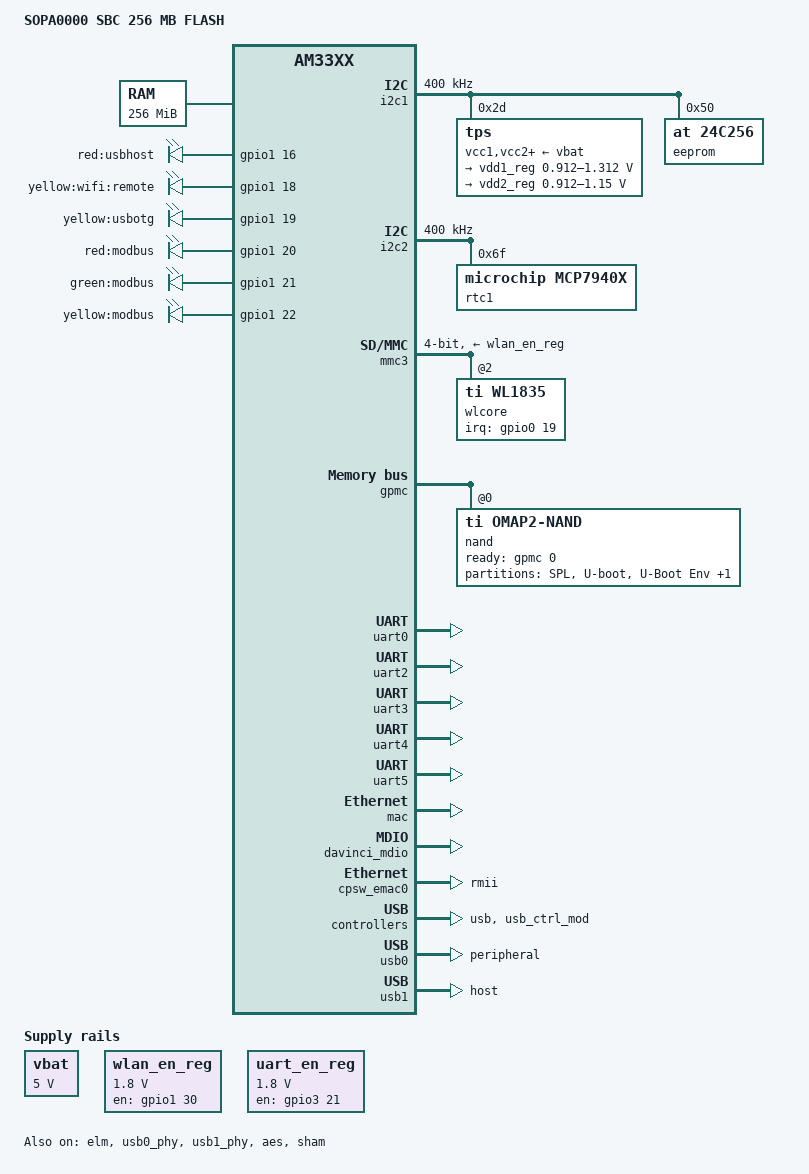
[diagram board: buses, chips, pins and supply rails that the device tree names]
/*
 * am335x-sopa0000-256.dts - Device Tree file for SOPA0000 256MB NAND FLASH
 *
 * Copyright (C) 2017 ISEE 2007 SL - http://www.isee.biz
 *
 * This program is free software; you can redistribute it and/or modify
 * it under the terms of the GNU General Public License version 2 as
 * published by the Free Software Foundation.
 */

/dts-v1/;

#include "am33xx.dtsi"
#include <dt-bindings/interrupt-controller/irq.h>

/ {
	model = "SOPA0000 SBC 256 MB FLASH";
	compatible = "sopa,sopa0000", "ti,am33xx";

	cpus {
		cpu@0 {
			cpu0-supply = <&vdd1_reg>;
		};
	};

	memory {
		device_type = "memory";
		reg = <0x80000000 0x10000000>; /* 256 MB */
	};

	leds {
		pinctrl-names = "default";
		pinctrl-0 = <&leds_pins_default>;
		compatible = "gpio-leds";

		led@0 {
			label = "red:usbhost";
			gpios = <&gpio1 16 GPIO_ACTIVE_HIGH>;
			default-state = "off";
		};

		led@1 {
			label = "yellow:wifi:remote";
			gpios = <&gpio1 18 GPIO_ACTIVE_HIGH>;
			default-state = "off";
		};

		led@2 {
			label = "yellow:usbotg";
			gpios = <&gpio1 19 GPIO_ACTIVE_HIGH>;
			default-state = "off";
		};

		led@3 {
			label = "red:modbus";
			gpios = <&gpio1 20 GPIO_ACTIVE_HIGH>;
			default-state = "off";
		};

		led@4 {
			label = "green:modbus";
			gpios = <&gpio1 21 GPIO_ACTIVE_HIGH>;
			default-state = "off";
		};

		led@5 {
			label = "yellow:modbus";
			gpios = <&gpio1 22 GPIO_ACTIVE_HIGH>;
			default-state = "off";
		};
	};

	vbat: fixedregulator@0 {
		compatible = "regulator-fixed";
		regulator-name = "vbat";
		regulator-min-microvolt = <5000000>;
		regulator-max-microvolt = <5000000>;
		regulator-boot-on;
	};

	wlan_en_reg: fixedregulator@1 {
		compatible = "regulator-fixed";
		regulator-name = "wlan-en-regulator";
		regulator-min-microvolt = <1800000>;
		regulator-max-microvolt = <1800000>;

		/* WL_EN */
		gpio = <&gpio1 30 0>;

		/* WLAN card specific delay */
		startup-delay-us = <70000>;
		enable-active-high;
	};
	
	uart_en_reg: fixedregulator@2 {
		compatible = "regulator-fixed";
		regulator-name = "uart-en-regulator";
		regulator-min-microvolt = <1800000>;
		regulator-max-microvolt = <1800000>;
		regulator-always-on;

		/* UART_EN */
		gpio = <&gpio3 21 0>;
		startup-delay-us = <70000>;  
		enable-active-high;
	};
};

&am33xx_pinmux {
	leds_pins_default: pinmux_leds_pins_default {
		pinctrl-single,pins = <
			AM33XX_IOPAD(0x840, PIN_OUTPUT_PULLDOWN | MUX_MODE7)	/* gpmc_a0.gpio1_16 */
			AM33XX_IOPAD(0x848, PIN_OUTPUT_PULLDOWN | MUX_MODE7)	/* gpmc_a2.gpio1_18 */
			AM33XX_IOPAD(0x84C, PIN_OUTPUT_PULLDOWN | MUX_MODE7)	/* gpmc_a3.gpio1_19 */
			AM33XX_IOPAD(0x850, PIN_OUTPUT_PULLDOWN | MUX_MODE7)	/* gpmc_a4.gpio1_20 */
			AM33XX_IOPAD(0x854, PIN_OUTPUT_PULLDOWN | MUX_MODE7)	/* gpmc_a5.gpio1_21 */
			AM33XX_IOPAD(0x858, PIN_OUTPUT_PULLDOWN | MUX_MODE7)	/* gpmc_a6.gpio1_22 */
		>;
	};

	enable_uart_pins: pinmux_enable_uart_pins {
		pinctrl-single,pins = <
			AM33XX_IOPAD(0x9ac, PIN_OUTPUT_PULLUP | MUX_MODE7)	/* mcasp0_ahclkx.gpio3_21 */
		>;
	};

	i2c1_pins: pinmux_i2c1_pins {
		pinctrl-single,pins = <
			AM33XX_IOPAD(0x980, PIN_INPUT_PULLUP | MUX_MODE3)	/* uart1_rxd.I2C1_SDA */
			AM33XX_IOPAD(0x984, PIN_INPUT_PULLUP | MUX_MODE3)	/* uart1_txd.I2C1_SCL */
		>;
	};

	i2c2_pins: pinmux_i2c2_pins {
		pinctrl-single,pins = <
			AM33XX_IOPAD(0x978, PIN_INPUT_PULLUP | MUX_MODE3)	/* uart1_ctsn.I2C2_SDA */
			AM33XX_IOPAD(0x97C, PIN_INPUT_PULLUP | MUX_MODE3)	/* uart1_rtsn.I2C2_SCL */
		>;
	};

	mmc3_pins_default: pinmux_mmc3_pins_default {
		pinctrl-single,pins = <
			AM33XX_IOPAD(0x83C, PIN_INPUT_PULLUP | MUX_MODE3)	/* gpmc_ad15.mmc2_dat3 */
			AM33XX_IOPAD(0x838, PIN_INPUT_PULLUP | MUX_MODE3)	/* gpmc_ad14.mmc2_dat2 */
			AM33XX_IOPAD(0x834, PIN_INPUT_PULLUP | MUX_MODE3)	/* gpmc_ad13.mmc2_dat1 */
			AM33XX_IOPAD(0x830, PIN_INPUT_PULLUP | MUX_MODE3)	/* gpmc_ad12.mmc2_dat0 */
			AM33XX_IOPAD(0x88C, PIN_INPUT_PULLUP | MUX_MODE3)	/* gpmc_clk.mmc2_clk */
			AM33XX_IOPAD(0x888, PIN_INPUT_PULLUP | MUX_MODE3)	/* gpmc_csn3.mmc2_cmd */
		>;
	};

	mmc3_pins_sleep: pinmux_mmc3_pins_sleep {
		pinctrl-single,pins = <
			AM33XX_IOPAD(0x83C, PIN_INPUT_PULLUP | MUX_MODE7)
			AM33XX_IOPAD(0x838, PIN_INPUT_PULLUP | MUX_MODE7)
			AM33XX_IOPAD(0x834, PIN_INPUT_PULLUP | MUX_MODE7)
			AM33XX_IOPAD(0x830, PIN_INPUT_PULLUP | MUX_MODE7)
			AM33XX_IOPAD(0x88C, PIN_INPUT_PULLUP | MUX_MODE7)
			AM33XX_IOPAD(0x888, PIN_INPUT_PULLUP | MUX_MODE7)
		>;
	};

	wlan_pins: pinmux_wlan_pins {
		pinctrl-single,pins = <
			AM33XX_IOPAD(0x880, PIN_OUTPUT_PULLDOWN | MUX_MODE7)	/* gpio1_30 WL_EN */
			AM33XX_IOPAD(0x9B0, PIN_INPUT_PULLUP | MUX_MODE7)		/* gpio0_19 WL_IRQ */
			AM33XX_IOPAD(0x878, PIN_OUTPUT_PULLDOWN | MUX_MODE7)	/* gpio1_28 BT_EN */
		>;
	};

	nandflash_pins_default: pinmux_nandflash_pins_default {
		pinctrl-single,pins = <
			AM33XX_IOPAD(0x800, PIN_INPUT_PULLUP | MUX_MODE0)	/* gpmc_ad0.gpmc_ad0 */
			AM33XX_IOPAD(0x804, PIN_INPUT_PULLUP | MUX_MODE0)	/* gpmc_ad1.gpmc_ad1 */
			AM33XX_IOPAD(0x808, PIN_INPUT_PULLUP | MUX_MODE0)	/* gpmc_ad2.gpmc_ad2 */
			AM33XX_IOPAD(0x80C, PIN_INPUT_PULLUP | MUX_MODE0)	/* gpmc_ad3.gpmc_ad3 */
			AM33XX_IOPAD(0x810, PIN_INPUT_PULLUP | MUX_MODE0)	/* gpmc_ad4.gpmc_ad4 */
			AM33XX_IOPAD(0x814, PIN_INPUT_PULLUP | MUX_MODE0)	/* gpmc_ad5.gpmc_ad5 */
			AM33XX_IOPAD(0x818, PIN_INPUT_PULLUP | MUX_MODE0)	/* gpmc_ad6.gpmc_ad6 */
			AM33XX_IOPAD(0x81C, PIN_INPUT_PULLUP | MUX_MODE0)	/* gpmc_ad7.gpmc_ad7 */
			AM33XX_IOPAD(0x870, PIN_INPUT_PULLUP | MUX_MODE0)	/* gpmc_wait0.gpmc_wait0 */
			AM33XX_IOPAD(0x874, PIN_INPUT_PULLUP | MUX_MODE7)	/* gpmc_wpn.gpio0_30 */
			AM33XX_IOPAD(0x87C, PIN_OUTPUT | MUX_MODE0)			/* gpmc_csn0.gpmc_csn0 */
			AM33XX_IOPAD(0x890, PIN_OUTPUT | MUX_MODE0)			/* gpmc_advn_ale.gpmc_advn_ale */
			AM33XX_IOPAD(0x894, PIN_OUTPUT | MUX_MODE0)			/* gpmc_oen_ren.gpmc_oen_ren */
			AM33XX_IOPAD(0x898, PIN_OUTPUT | MUX_MODE0)			/* gpmc_wen.gpmc_wen */
			AM33XX_IOPAD(0x89C, PIN_OUTPUT | MUX_MODE0)			/* gpmc_be0n_cle.gpmc_be0n_cle */
		>;
	};

	nandflash_pins_sleep: pinmux_nandflash_pins_sleep {
		pinctrl-single,pins = <
			AM33XX_IOPAD(0x800, PIN_INPUT_PULLDOWN | MUX_MODE7)
			AM33XX_IOPAD(0x804, PIN_INPUT_PULLDOWN | MUX_MODE7)
			AM33XX_IOPAD(0x808, PIN_INPUT_PULLDOWN | MUX_MODE7)
			AM33XX_IOPAD(0x80C, PIN_INPUT_PULLDOWN | MUX_MODE7)
			AM33XX_IOPAD(0x810, PIN_INPUT_PULLDOWN | MUX_MODE7)
			AM33XX_IOPAD(0x814, PIN_INPUT_PULLDOWN | MUX_MODE7)
			AM33XX_IOPAD(0x818, PIN_INPUT_PULLDOWN | MUX_MODE7)
			AM33XX_IOPAD(0x81C, PIN_INPUT_PULLDOWN | MUX_MODE7)
			AM33XX_IOPAD(0x870, PIN_INPUT_PULLDOWN | MUX_MODE7)
			AM33XX_IOPAD(0x874, PIN_INPUT_PULLDOWN | MUX_MODE7)
			AM33XX_IOPAD(0x87C, PIN_INPUT_PULLDOWN | MUX_MODE7)
			AM33XX_IOPAD(0x890, PIN_INPUT_PULLDOWN | MUX_MODE7)
			AM33XX_IOPAD(0x894, PIN_INPUT_PULLDOWN | MUX_MODE7)
			AM33XX_IOPAD(0x898, PIN_INPUT_PULLDOWN | MUX_MODE7)
			AM33XX_IOPAD(0x89C, PIN_INPUT_PULLDOWN | MUX_MODE7)
		>;
	};

	uart0_pins: pinmux_uart0_pins {
		pinctrl-single,pins = <
			AM33XX_IOPAD(0x970, PIN_INPUT_PULLUP | MUX_MODE0)		/* uart0_rxd.uart0_rxd */
			AM33XX_IOPAD(0x974, PIN_OUTPUT_PULLDOWN | MUX_MODE0)	/* uart0_txd.uart0_txd */
		>;
	};

	uart2_pins_default: pinmux_uart2_pins_default {
		pinctrl-single,pins = <
			AM33XX_IOPAD(0x988, PIN_INPUT | MUX_MODE2)				/* I2C0_SDA.uart2_ctsn */
			AM33XX_IOPAD(0x98C, PIN_OUTPUT_PULLDOWN | MUX_MODE2)	/* I2C0_SCL.uart2_rtsn */
			AM33XX_IOPAD(0x92C, PIN_INPUT_PULLUP | MUX_MODE1)		/* gmii1_txclk.uart2_rxd */
			AM33XX_IOPAD(0x930, PIN_OUTPUT | MUX_MODE1)				/* gmii1_rxclk.uart2_txd */
		>;
	};

	uart2_pins_sleep: pinmux_uart2_pins_sleep {
		pinctrl-single,pins = <
			AM33XX_IOPAD(0x988, PIN_INPUT_PULLDOWN | MUX_MODE7)
			AM33XX_IOPAD(0x98C, PIN_INPUT_PULLDOWN | MUX_MODE7)
			AM33XX_IOPAD(0x92C, PIN_INPUT_PULLDOWN | MUX_MODE7)
			AM33XX_IOPAD(0x930, PIN_INPUT_PULLDOWN | MUX_MODE7)
		>;
	};

	uart3_pins_default: pinmux_uart3_pins_default {
		pinctrl-single,pins = <
			AM33XX_IOPAD(0x934, PIN_INPUT_PULLUP | MUX_MODE1)	/* gmii1_rxd3.uart3_rxd */
			AM33XX_IOPAD(0x938, PIN_OUTPUT | MUX_MODE1)			/* gmii1_rxd2.uart3_txd */
			AM33XX_IOPAD(0x8c8, PIN_INPUT | MUX_MODE7)			/* lcd_data10.gpio2_16 */
			AM33XX_IOPAD(0x8cc, PIN_OUTPUT | MUX_MODE7)			/* lcd_data11.gpio2_17 */
		>;
	};

	uart4_pins_default: pinmux_uart4_pins_default {
		pinctrl-single,pins = <
			AM33XX_IOPAD(0x968, PIN_INPUT_PULLUP | MUX_MODE1)	/* uart0_ctsn.uart4_rxd */
			AM33XX_IOPAD(0x96c, PIN_OUTPUT | MUX_MODE1)			/* uart0_rtsn.uart4_txd */
			AM33XX_IOPAD(0x8d0, PIN_INPUT | MUX_MODE7)			/* lcd_data12.gpio0_8 */
			AM33XX_IOPAD(0x8d4, PIN_OUTPUT | MUX_MODE7)			/* lcd_data13.gpio0_9 */
		>;
	};

	uart5_pins_default: pinmux_uart5_pins_default {
		pinctrl-single,pins = <
			AM33XX_IOPAD(0x908, PIN_INPUT_PULLUP | MUX_MODE3)	/* gmii1_col.uart5_rxd */
			AM33XX_IOPAD(0x918, PIN_OUTPUT | MUX_MODE3)			/* gmii1_rxdv.uart5_txd */
			AM33XX_IOPAD(0x8d8, PIN_INPUT | MUX_MODE7)			/* lcd_data14.gpio0_10 */
			AM33XX_IOPAD(0x8dc, PIN_OUTPUT | MUX_MODE7)			/* lcd_data15.gpio0_11 */
		>;
	};

	cpsw_default: pinmux_cpsw_default {
		pinctrl-single,pins = <
			/* Slave 1 */
			AM33XX_IOPAD(0x90C, PIN_INPUT_PULLDOWN | MUX_MODE1)	/* gmii1_crs.rmii1_crs_dv */
			AM33XX_IOPAD(0x910, PIN_INPUT_PULLUP | MUX_MODE1)	/* gmii1_rxer.rmii1_rxer */
			AM33XX_IOPAD(0x914, PIN_OUTPUT_PULLDOWN | MUX_MODE1)	/* gmii1_txen.rmii1_txen */
			AM33XX_IOPAD(0x928, PIN_OUTPUT_PULLDOWN | MUX_MODE1)	/* gmii1_txd0.rmii1_txd0 */
			AM33XX_IOPAD(0x924, PIN_OUTPUT_PULLDOWN | MUX_MODE1)	/* gmii1_txd1.rmii1_txd1 */
			AM33XX_IOPAD(0x940, PIN_INPUT_PULLUP | MUX_MODE1)	/* gmii1_rxd0.rmii1_rxd0 */
			AM33XX_IOPAD(0x93C, PIN_INPUT_PULLUP | MUX_MODE1)	/* gmii1_rxd1.rmii1_rxd1 */
			AM33XX_IOPAD(0x944, PIN_INPUT_PULLDOWN | MUX_MODE0)	/* rmii1_refclk.rmii1_refclk */
		>;
	};

	cpsw_sleep: pinmux_cpsw_sleep {
		pinctrl-single,pins = <
			/* Slave 1 */
			AM33XX_IOPAD(0x90C, PIN_INPUT_PULLDOWN | MUX_MODE7)
			AM33XX_IOPAD(0x910, PIN_INPUT_PULLDOWN | MUX_MODE7)
			AM33XX_IOPAD(0x914, PIN_INPUT_PULLDOWN | MUX_MODE7)
			AM33XX_IOPAD(0x928, PIN_INPUT_PULLDOWN | MUX_MODE7)
			AM33XX_IOPAD(0x924, PIN_INPUT_PULLDOWN | MUX_MODE7)
			AM33XX_IOPAD(0x940, PIN_INPUT_PULLDOWN | MUX_MODE7)
			AM33XX_IOPAD(0x93C, PIN_INPUT_PULLDOWN | MUX_MODE7)
			AM33XX_IOPAD(0x944, PIN_INPUT_PULLDOWN | MUX_MODE7)
		>;
	};

	davinci_mdio_default: pinmux_davinci_mdio_default {
		pinctrl-single,pins = <
			AM33XX_IOPAD(0x948, PIN_INPUT_PULLUP | SLEWCTRL_FAST | MUX_MODE0)	/* mdio_data.mdio_data */
			AM33XX_IOPAD(0x94C, PIN_OUTPUT_PULLUP | MUX_MODE0)					/* mdio_clk.mdio_clk */
		>;
	};

	davinci_mdio_sleep: pinmux_davinci_mdio_sleep {
		pinctrl-single,pins = <
			AM33XX_IOPAD(0x948, PIN_INPUT_PULLDOWN | MUX_MODE7)
			AM33XX_IOPAD(0x94C, PIN_INPUT_PULLDOWN | MUX_MODE7)
		>;
	};
};

&i2c1 {
	status = "okay";
	pinctrl-names = "default";
	pinctrl-0 = <&i2c1_pins>;

	clock-frequency = <400000>;

	tps: tps@2d {
		reg = <0x2d>;
	};

	eeprom: eeprom@50 {
		compatible = "at,24c256";
		reg = <0x50>;
	};
};

&i2c2 {
	status = "okay";
	pinctrl-names = "default";
	pinctrl-0 = <&i2c2_pins>;

	clock-frequency = <400000>;

	rtc1: mcp7940x@6f {
		compatible = "microchip,mcp7940x";
		reg = <0x6f>;
	};
};

&edma {
	/* Map eDMA MMC2 Events from Crossbar */
	ti,edma-xbar-event-map = /bits/ 16 <1 12
                                            2 13>;
};

&mmc3 {
	status = "okay";
	dmas = <&edma_xbar 12 0 1
        &edma_xbar 13 0 2>;
	dma-names = "tx", "rx";
	vmmc-supply = <&wlan_en_reg>;
	bus-width = <4>;
	pinctrl-names = "default", "sleep";
	pinctrl-0 = <&mmc3_pins_default &wlan_pins>;
	pinctrl-1 = <&mmc3_pins_sleep &wlan_pins>;
	ti,non-removable;
	ti,needs-special-hs-handling;
	cap-power-off-card;
	keep-power-in-suspend;

	#address-cells = <1>;
	#size-cells = <0>;
	wlcore: wlcore@0 {
		compatible = "ti,wl1835";
		reg = <2>;
		interrupt-parent = <&gpio0>;
		interrupts = <19 IRQ_TYPE_LEVEL_HIGH>;
	};
};

&elm {
	status = "okay";
};

&gpmc {
	status = "okay";
	pinctrl-names = "default", "sleep";
	pinctrl-0 = <&nandflash_pins_default>;
	pinctrl-1 = <&nandflash_pins_sleep>;

	ranges = <0 0 0x08000000 0x08000000>;	/* CS0: 256 MB for NAND */

	nand@0,0 {
		compatible = "ti,omap2-nand";
		reg = <0 0 4>; /* CS0, offset 0, IO size 4 */
		interrupt-parent = <&intc>;
		interrupts = <100>;
		ready-gpio = <&gpmc 0 GPIO_ACTIVE_HIGH>; /* gpmc_wait0 */
		nand-bus-width = <8>;
		ti,nand-ecc-opt = "bch8";
		ti,elm-id = <&elm>;

		gpmc,device-width = <1>;
		gpmc,sync-clk-ps = <0>;
		gpmc,cs-on-ns = <0>;
		gpmc,cs-rd-off-ns = <44>;
		gpmc,cs-wr-off-ns = <44>;
		gpmc,adv-on-ns = <6>;
		gpmc,adv-rd-off-ns = <34>;
		gpmc,adv-wr-off-ns = <44>;
		gpmc,we-on-ns = <0>;
		gpmc,we-off-ns = <40>;
		gpmc,oe-on-ns = <0>;
		gpmc,oe-off-ns = <54>;
		gpmc,access-ns = <64>;
		gpmc,rd-cycle-ns = <82>;
		gpmc,wr-cycle-ns = <82>;
		gpmc,bus-turnaround-ns = <0>;
		gpmc,cycle2cycle-delay-ns = <0>;
		gpmc,clk-activation-ns = <0>;
		gpmc,wr-access-ns = <40>;
		gpmc,wr-data-mux-bus-ns = <0>;

		#address-cells = <1>;
		#size-cells = <1>;
		elm_id = <&elm>;

		/* MTD partition table */
		partition@0 {
			label = "SPL";
			reg = <0x00000000 0x00080000>;
		};

		partition@1 {
			label = "U-boot";
			reg = <0x00080000 0x00100000>;
		};

		partition@2 {
			label = "U-Boot Env";
			reg = <0x00180000 0x00020000>;
		};

		partition@3 {
			label = "FileSystem";
			reg = <0x001A0000 0x0FE60000>;
		};
	};
};

&uart0 {
	status = "okay";
	pinctrl-names = "default";
	pinctrl-0 = <&uart0_pins>;
};


&uart2 {
	status = "okay";
	pinctrl-names = "default", "sleep";
	pinctrl-0 = <&uart2_pins_default>;
	pinctrl-1 = <&uart2_pins_sleep>;
};

&uart3 {
	status = "okay";
	pinctrl-names = "default";
	pinctrl-0 = <&uart3_pins_default>;
	rts-gpio = <&gpio2 17 GPIO_ACTIVE_HIGH>;
	rs485-rts-active-high;
	rs485-rx-during-tx;
	rs485-rts-delay = <1 1>;
	linux,rs485-enabled-at-boot-time;
};

&uart4 {
	status = "okay";
	pinctrl-names = "default";
	pinctrl-0 = <&uart4_pins_default>;
	rts-gpio = <&gpio0 9 GPIO_ACTIVE_HIGH>;
	rs485-rts-active-high;
	rs485-rx-during-tx;
	rs485-rts-delay = <1 1>;
	linux,rs485-enabled-at-boot-time;
};

&uart5 {
	status = "okay";
	pinctrl-names = "default";
	pinctrl-0 = <&uart5_pins_default>;
	rts-gpio = <&gpio0 11 GPIO_ACTIVE_HIGH>;
	rs485-rts-active-high;
	rs485-rx-during-tx;
	rs485-rts-delay = <1 1>;
	linux,rs485-enabled-at-boot-time;
};

&mac {
	status = "okay";
	pinctrl-names = "default", "sleep";
	pinctrl-0 = <&cpsw_default>;
	pinctrl-1 = <&cpsw_sleep>;
};

&davinci_mdio {
	status = "okay";
	pinctrl-names = "default", "sleep";
	pinctrl-0 = <&davinci_mdio_default>;
	pinctrl-1 = <&davinci_mdio_sleep>;
};

&cpsw_emac0 {
	phy_id = <&davinci_mdio>, <1>;
	phy-mode = "rmii";
};

&phy_sel {
	rmii-clock-ext;
};

&usb {
	status = "okay";
};

&usb0 {
	status = "okay";
	dr_mode = "peripheral";
};

&usb1 {
	status = "okay";
	dr_mode = "host";
};

&usb_ctrl_mod {
	status = "okay";
};

&usb0_phy {
	status = "okay";
};

&usb1_phy {
	status = "okay";
};

&cppi41dma {
	status = "okay";
};

#include "tps65910.dtsi"

&tps {
	vcc1-supply = <&vbat>;
	vcc2-supply = <&vbat>;
	vcc3-supply = <&vbat>;
	vcc4-supply = <&vbat>;
	vcc5-supply = <&vbat>;
	vcc6-supply = <&vbat>;
	vcc7-supply = <&vbat>;
	vccio-supply = <&vbat>;

	regulators {
		vrtc_reg: regulator@0 {
			regulator-always-on;
		};

		vio_reg: regulator@1 {
			regulator-always-on;
		};

		vdd1_reg: regulator@2 {
			/* VDD_MPU voltage limits 0.95V - 1.26V with +/-4% tolerance */
			regulator-name = "vdd_mpu";
			regulator-min-microvolt = <912500>;
			regulator-max-microvolt = <1312500>;
			regulator-boot-on;
			regulator-always-on;
		};

		vdd2_reg: regulator@3 {
			/* VDD_CORE voltage limits 0.95V - 1.1V with +/-4% tolerance */
			regulator-name = "vdd_core";
			regulator-min-microvolt = <912500>;
			regulator-max-microvolt = <1150000>;
			regulator-boot-on;
			regulator-always-on;
		};

		vdd3_reg: regulator@4 {
			regulator-always-on;
		};

		vdig1_reg: regulator@5 {
			regulator-always-on;
		};

		vdig2_reg: regulator@6 {
			regulator-always-on;
		};

		vpll_reg: regulator@7 {
			regulator-always-on;
		};

		vdac_reg: regulator@8 {
			regulator-always-on;
		};

		vaux1_reg: regulator@9 {
			regulator-always-on;
		};

		vaux2_reg: regulator@10 {
			regulator-always-on;
		};

		vaux33_reg: regulator@11 {
			regulator-always-on;
		};

		vmmc_reg: regulator@12 {
			regulator-always-on;
		};
	};
};

&aes {
	status = "okay";
};

&sham {
	status = "okay";
};

